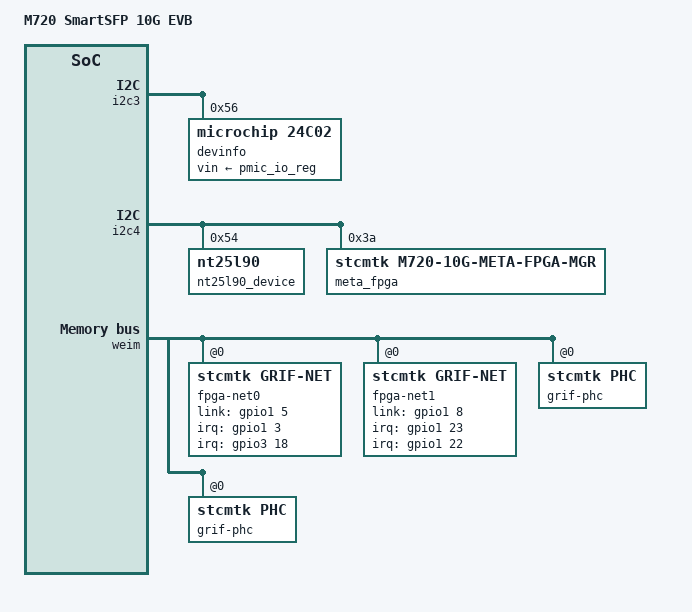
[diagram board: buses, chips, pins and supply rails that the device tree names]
#include "m720-10g.dtsi"

/ {
	model = "M720 SmartSFP 10G EVB";

	cpu-gpio {
		compatible = "linux,gpio-exporter";
		pinctrl-names = "default";
		pinctrl-0 = <&pinctrl_eeprom &pinctrl_userswitch>;
		status = "okay";
		exported-gpios = <&gpio3 12 GPIO_ACTIVE_HIGH>,
				 <&gpio3 13 GPIO_ACTIVE_HIGH>,
				 <&gpio1  9 GPIO_ACTIVE_HIGH>,
				 <&gpio3 15 GPIO_ACTIVE_LOW>,
				 <&gpio3 16 GPIO_ACTIVE_LOW>;
		exported-gpio-names = "host-eeprom-write-protect",
				      "host-eeprom-address-select",
				      "devinfo-eeprom-write-protect",
				      "user-set0",
				      "user-set1";
		exported-gpio-directions = "high", "low", "high", "in", "in";
	};

	host-gpio {
		compatible = "linux,gpio-exporter";
		status = "okay";
		exported-gpios = <&fpga_gpio 0 GPIO_ACTIVE_HIGH>,
				 <&fpga_gpio 1 GPIO_ACTIVE_HIGH>,
				 <&fpga_gpio 2 GPIO_ACTIVE_HIGH>,
				 <&fpga_gpio 3 GPIO_ACTIVE_HIGH>,
				 <&fpga_gpio 4 GPIO_ACTIVE_HIGH>,
				 <&fpga_gpio 5 GPIO_ACTIVE_HIGH>,
				 <&fpga_gpio 6 GPIO_ACTIVE_HIGH>,
				 <&fpga_gpio 7 GPIO_ACTIVE_HIGH>,
				 <&fpga_gpio 8 GPIO_ACTIVE_HIGH>,
				 <&fpga_gpio 9 GPIO_ACTIVE_HIGH>,
				 <&fpga_gpio 10 GPIO_ACTIVE_HIGH>,
				 <&fpga_gpio 11 GPIO_ACTIVE_HIGH>,
				 <&fpga_gpio 12 GPIO_ACTIVE_HIGH>,
				 <&fpga_gpio 13 GPIO_ACTIVE_HIGH>,
				 <&fpga_gpio 14 GPIO_ACTIVE_HIGH>,
				 <&fpga_gpio 15 GPIO_ACTIVE_HIGH>,
				 <&fpga_gpio 16 GPIO_ACTIVE_HIGH>,
				 <&fpga_gpio 17 GPIO_ACTIVE_HIGH>,
				 <&fpga_gpio 18 GPIO_ACTIVE_HIGH>,
				 <&fpga_gpio 19 GPIO_ACTIVE_HIGH>,
				 <&fpga_gpio 20 GPIO_ACTIVE_HIGH>,
				 <&fpga_gpio 21 GPIO_ACTIVE_HIGH>,
				 <&fpga_gpio 22 GPIO_ACTIVE_HIGH>,
				 <&fpga_gpio 23 GPIO_ACTIVE_HIGH>;
		exported-gpio-names = "rx-los",
				      "rx-los-ctrl",
				      "tx-flt",
				      "tx-flt-ctrl",
				      "tx-dis-ctrl",
				      "tx-dis",
				      "mod-abs",
				      "rs0",
				      "rs1",
				      "mod-abs-a",
				      "rs0-a",
				      "rs1-a",
				      "rx-los-a",
				      "tx-dis-a",
				      "tx-flt-a",
				      "mod-abs-c",
				      "rs0-c",
				      "rs1-c",
				      "rx-los-c",
				      "tx-dis-c",
				      "tx-flt-c",
				      "rx-los-b",
				      "tx-dis-b",
				      "tx-flt-b";
		exported-gpio-directions = "low",
					   "low",
					   "low",
					   "low",
					   "low",
					   "low",
					   "in",
					   "in",
					   "in",
					   "in",
					   "in",
					   "in",
					   "in",
					   "in",
					   "in",
					   "in",
					   "in",
					   "in",
					   "in",
					   "in",
					   "in",
					   "in",
					   "in",
					   "in";
	};

	fpga_gpio: fpga-gpio {
		compatible = "stcmtk,grif-gpio-expander";
		target-fpga = <&meta_fpga>;
		gpio-controller;
		#gpio-cells = <2>;
		gpio-line-names = "rx-los",
				  "rx-los-ctrl",
				  "tx-flt",
				  "tx-flt-ctrl",
				  "tx-dis-ctrl",
				  "tx-dis",
				  "mod-abs",
				  "rs0",
				  "rs1",
				  "mod-abs-a",
				  "rs0-a",
				  "rs1-a",
				  "rx-los-a",
				  "tx-dis-a",
				  "tx-flt-a",
				  "mod-abs-c",
				  "rs0-c",
				  "rs1-c",
				  "rx-los-c",
				  "tx-dis-c",
				  "tx-flt-c",
				  "rx-los-b",
				  "tx-dis-b",
				  "tx-flt-b";
	};

	fpga-io {
		compatible = "stcmtk,grif-io";
		target-fpga = <&meta_fpga>;
		status = "okay";
	};

	phc_mux: grif-phc-mux {
                compatible = "stcmtk,phc-mux";
                target-fpga = <&meta_fpga>;
        };
};

&i2c3 {
	/* device info EEPROM */
	devinfo@56 {
		compatible = "microchip,24c02", "at24";
		vin-supply = <&pmic_io_reg>;
		reg = <0x56>;
		pagesize = <8>;
	};
};

&i2c4 {
	nt25l90_device@54 {
		compatible = "linux,nt25l90";
		status = "okay";
		reg = <0x54>;
	};

	meta_fpga: meta_fpga_mgr@3a {
		reg = <0x3a>;
		compatible = "stcmtk,m720-10g-meta-fpga-mgr";
		fpga-mgr = <&mpf_fpga_mgr>;
		status = "okay";
	};
};

&iomuxc {
	stcmtk-smart-sfp {
		pinctrl_eeprom: eepromgrp {
			fsl,pins = <
				MX6UL_PAD_LCD_DATA07__GPIO3_IO12 0x000018B0 /*nWP_EEP,Host EEPROM write protect */
				MX6UL_PAD_GPIO1_IO09__GPIO1_IO09 0x000018B0 /* Device info EEPROM write protect*/
				MX6UL_PAD_LCD_DATA08__GPIO3_IO13 0x000010B0 /* EEP_ASET, Address */
			>;
		};
	};
};

&weim {
	fpga-net0 {
		compatible = "stcmtk,grif-net";
		target-fpga = <&meta_fpga>;
		pinctrl-names = "default";
		pinctrl-0 = <&pinctrl_net1>;
		reg = <0 0x4000 0x8000>; /* EIM addr range for CPUBUF (port 0) */

		/* CS0 Configuration registers:
			CSxGCR1, CSxGCR2, CSxRCR1,
			CSxRCR2, CSxWCR1, CSxWCR2 */
		fsl,weim-cs-timing = <0x511104AF 0x00001000 0x04000000
				      0x00000000 0x01000000 0x00000000>;

		mac-address = [02 00 00 44 00 02];
		port-num = <0>;
		interrupts-extended = <&gpio1 3  IRQ_TYPE_EDGE_RISING>, /* FPGA_INT0 - TX */
				      <&gpio3 18 IRQ_TYPE_LEVEL_HIGH>; /* FPGA_INT1 - RX */

		phc-mux = <&phc_mux>;
		phy-mode = "internal";

		link-gpios = <&gpio1 5 GPIO_ACTIVE_HIGH>; /* FPGA_INT2 - Link state */

		fixed-link {
			speed = <10000>;
			full-duplex;
		};
	};

	fpga-net1 {
		compatible = "stcmtk,grif-net";
		target-fpga = <&meta_fpga>;
		pinctrl-names = "default";
		pinctrl-0 = <&pinctrl_net2>;
		reg = <0 0xc000 0x8000>; /* EIM addr range for CPUBUF (port 1) */

		/* CS0 Configuration registers:
			CSxGCR1, CSxGCR2, CSxRCR1,
			CSxRCR2, CSxWCR1, CSxWCR2 */
		fsl,weim-cs-timing = <0x511104AF 0x00001000 0x04000000
				      0x00000000 0x01000000 0x00000000>;

		mac-address = [02 00 00 44 00 03];
		port-num = <1>;
		interrupts-extended = <&gpio1 23 IRQ_TYPE_EDGE_RISING>, /* FPGA_INT3 - TX */
				      <&gpio1 22 IRQ_TYPE_LEVEL_HIGH>; /* FPGA_INT4 - RX */

		phc-mux = <&phc_mux>;
		phy-mode = "internal";

		link-gpios = <&gpio1 8 GPIO_ACTIVE_HIGH>; /* FPGA_INT5 - Link state */

		fixed-link {
			speed = <10000>;
			full-duplex;
		};
	};

	grif-phc@0 {
                compatible = "stcmtk,phc";
                stcmtk,port-num = <0>;
                target-fpga = <&meta_fpga>;
                bus-type = "eim";
                reg = <0 0x0 0x1e>, /* CR reg port 0 */
                      <0 0x3c 0xc>, /* SR reg port 0 */
                      <0 0x0 0x1e>,
                      <0 0x1e 0xc>;
                reg-names = "reg-cr", "reg-sr",
                            "alt-reg-cr", "alt-reg-sr";
        };

	grif-phc@1 {
                compatible = "stcmtk,phc";
                stcmtk,port-num = <1>;
                target-fpga = <&meta_fpga>;
                bus-type = "eim";
                reg = <0 0x1e 0x1e>, /* CR reg port 1 */
                      <0 0x48 0xc>,  /* SR reg port 1 */
                      <0 0x0 0x1e>,
                      <0 0x1e 0xc>;
                reg-names = "reg-cr", "reg-sr",
                            "alt-reg-cr", "alt-reg-sr";
        };
};
